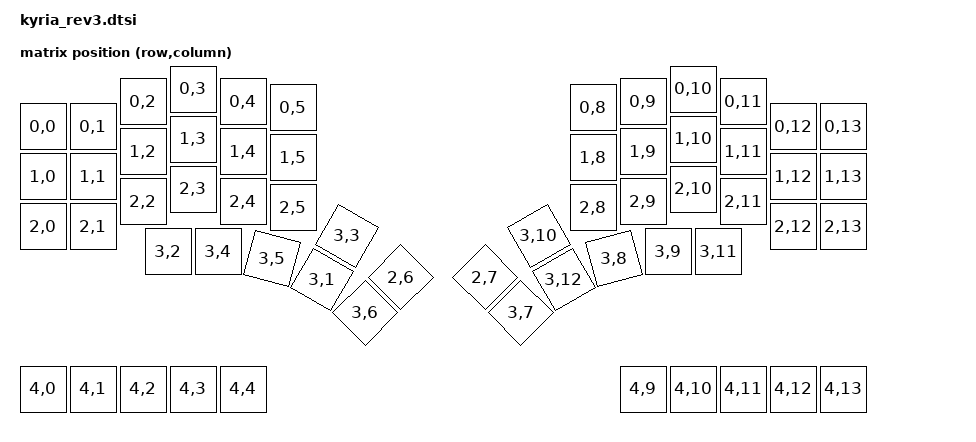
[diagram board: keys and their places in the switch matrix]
/*
 * Copyright (c) 2026 Splitkb.com
 *
 * SPDX-License-Identifier: MIT
 */

#include <physical_layouts.dtsi>
#include <dt-bindings/led/led.h>

/ {
    chosen {
        zmk,physical-layout = &halcyon_layout;   
        zmk,kscan = &kscan_composite;  
        zmk,underglow = &led_strip;   
    };
    
    halcyon_transform: keymap_transform_0 {
        compatible = "zmk,matrix-transform";
        columns = <14>;
        rows = <5>;
        // | MX6  | MX5  | MX4  | MX3  | MX2  | MX1  |                               | MX1  | MX2  | MX3  | MX4  | MX5  | MX6  |
        // | MX12 | MX11 | MX10 | MX9  | MX8  | MX7  |                               | MX7  | MX8  | MX9  | MX10 | MX11 | MX12 |
        // | MX20 | MX19 | MX18 | MX17 | MX16 | MX15 | MX14 | MX13 |   | MX13 | MX14 | MX15 | MX16 | MX17 | MX18 | MX19 | MX20 |
        //                    | MX25 | MX24 | MX23 | MX22 | MX21 |       | MX21 | MX22 | MX23 | MX24 | MX25 |
        map = <
        RC(0,0) RC(0,1) RC(0,2) RC(0,3) RC(0,4) RC(0,5)                                  RC(0,8) RC(0,9) RC(0,10) RC(0,11) RC(0,12) RC(0,13)
        RC(1,0) RC(1,1) RC(1,2) RC(1,3) RC(1,4) RC(1,5)                                  RC(1,8) RC(1,9) RC(1,10) RC(1,11) RC(1,12) RC(1,13)
        RC(2,0) RC(2,1) RC(2,2) RC(2,3) RC(2,4) RC(2,5) RC(3,3) RC(2,6) RC(2,7) RC(3,10) RC(2,8) RC(2,9) RC(2,10) RC(2,11) RC(2,12) RC(2,13)
                                RC(3,2) RC(3,4) RC(3,5) RC(3,1) RC(3,6) RC(3,7) RC(3,12) RC(3,8) RC(3,9) RC(3,11)
        RC(4,0) RC(4,1) RC(4,2) RC(4,3) RC(4,4)                                                  RC(4,9) RC(4,10) RC(4,11) RC(4,12) RC(4,13)
        >;
    };

    kscan_composite: kscan_composite {
        compatible = "zmk,kscan-composite";
        columns = <14>;
        rows = <5>;
        wakeup-source;

        matrix {
            kscan = <&kscan0>;
        };

        halcyon {
            kscan = <&kscan_halcyon>;
            row-offset = <4>;
        };
    };

    sensors: sensors {
        compatible = "zmk,keymap-sensors";
        sensors = <&left_halcyon_encoder &right_halcyon_encoder &left_encoder &right_encoder>;
        triggers-per-rotation = <20>;
    };

    halcyon_layout: halcyon_layout {
        compatible = "zmk,physical-layout";
        display-name = "Kyria";
        transform = <&halcyon_transform>;

        keys  //                     w   h    x    y     rot    rx    ry
            = <&key_physical_attrs 100 100    0   75       0     0     0>
            , <&key_physical_attrs 100 100  100   75       0     0     0>
            , <&key_physical_attrs 100 100  200   25       0     0     0>
            , <&key_physical_attrs 100 100  300    0       0     0     0>
            , <&key_physical_attrs 100 100  400   25       0     0     0>
            , <&key_physical_attrs 100 100  500   37       0     0     0>
            , <&key_physical_attrs 100 100 1100   37       0     0     0>
            , <&key_physical_attrs 100 100 1200   25       0     0     0>
            , <&key_physical_attrs 100 100 1300    0       0     0     0>
            , <&key_physical_attrs 100 100 1400   25       0     0     0>
            , <&key_physical_attrs 100 100 1500   75       0     0     0>
            , <&key_physical_attrs 100 100 1600   75       0     0     0>
            , <&key_physical_attrs 100 100    0  175       0     0     0>
            , <&key_physical_attrs 100 100  100  175       0     0     0>
            , <&key_physical_attrs 100 100  200  125       0     0     0>
            , <&key_physical_attrs 100 100  300  100       0     0     0>
            , <&key_physical_attrs 100 100  400  125       0     0     0>
            , <&key_physical_attrs 100 100  500  137       0     0     0>
            , <&key_physical_attrs 100 100 1100  137       0     0     0>
            , <&key_physical_attrs 100 100 1200  125       0     0     0>
            , <&key_physical_attrs 100 100 1300  100       0     0     0>
            , <&key_physical_attrs 100 100 1400  125       0     0     0>
            , <&key_physical_attrs 100 100 1500  175       0     0     0>
            , <&key_physical_attrs 100 100 1600  175       0     0     0>
            , <&key_physical_attrs 100 100    0  275       0     0     0>
            , <&key_physical_attrs 100 100  100  275       0     0     0>
            , <&key_physical_attrs 100 100  200  225       0     0     0>
            , <&key_physical_attrs 100 100  300  200       0     0     0>
            , <&key_physical_attrs 100 100  400  225       0     0     0>
            , <&key_physical_attrs 100 100  500  237       0     0     0>
            , <&key_physical_attrs 100 100  350  225    3000   400   792>
            , <&key_physical_attrs 100 100  350  225    4500   400   792>
            , <&key_physical_attrs 100 100 1250  225 (-4500)  1300   792>
            , <&key_physical_attrs 100 100 1250  225 (-3000)  1300   792>
            , <&key_physical_attrs 100 100 1100  237       0     0     0>
            , <&key_physical_attrs 100 100 1200  225       0     0     0>
            , <&key_physical_attrs 100 100 1300  200       0     0     0>
            , <&key_physical_attrs 100 100 1400  225       0     0     0>
            , <&key_physical_attrs 100 100 1500  275       0     0     0>
            , <&key_physical_attrs 100 100 1600  275       0     0     0>
            , <&key_physical_attrs 100 100  250  325       0     0     0>
            , <&key_physical_attrs 100 100  350  325       0     0     0>
            , <&key_physical_attrs 100 100  350  325    1500   400   792>
            , <&key_physical_attrs 100 100  350  325    3000   400   792>
            , <&key_physical_attrs 100 100  350  325    4500   400   792>
            , <&key_physical_attrs 100 100 1250  325 (-4500)  1300   792>
            , <&key_physical_attrs 100 100 1250  325 (-3000)  1300   792>
            , <&key_physical_attrs 100 100 1250  325 (-1500)  1300   792>
            , <&key_physical_attrs 100 100 1250  325       0     0     0>
            , <&key_physical_attrs 100 100 1350  325       0     0     0>
            , <&key_physical_attrs 100 100    0  600       0     0     0>
            , <&key_physical_attrs 100 100  100  600       0     0     0>
            , <&key_physical_attrs 100 100  200  600       0     0     0>
            , <&key_physical_attrs 100 100  300  600       0     0     0>
            , <&key_physical_attrs 100 100  400  600       0     0     0>
            , <&key_physical_attrs 100 100 1200  600       0     0     0>
            , <&key_physical_attrs 100 100 1300  600       0     0     0>
            , <&key_physical_attrs 100 100 1400  600       0     0     0>
            , <&key_physical_attrs 100 100 1500  600       0     0     0>
            , <&key_physical_attrs 100 100 1600  600       0     0     0>
            ;
    };
};

&pinctrl {
    // RGB
    spi2_default: spi2_default {
        group1 {
            psels = <NRF_PSEL(SPIM_SCK, 1, 4)>, /* Not connected */
                    <NRF_PSEL(SPIM_MOSI, 0, 27)>;
        };
    };

    spi2_sleep: spi2_sleep {
        group1 {
            psels = <NRF_PSEL(SPIM_SCK, 1, 4)>, /* Not connected */
                    <NRF_PSEL(SPIM_MOSI, 0, 27)>;
            low-power-enable;
        };
    };
};

//RGB
&spi2 {
    compatible = "nordic,nrf-spim";
    status = "okay";

    pinctrl-0 = <&spi2_default>;
    pinctrl-1 = <&spi2_sleep>;
    pinctrl-names = "default", "sleep";

    led_strip: ws2812@0 {
        compatible = "worldsemi,ws2812-spi";

        /* SPI */
        reg = <0>; /* ignored, but necessary for SPI bindings */
        spi-max-frequency = <4000000>;

        /* WS2812 */
        chain-length = <31>; /* arbitrary; change at will */
        spi-one-frame = <0x70>;
        spi-zero-frame = <0x40>;

        color-mapping = <LED_COLOR_ID_GREEN 
                LED_COLOR_ID_RED 
                LED_COLOR_ID_BLUE>;
    };
};
